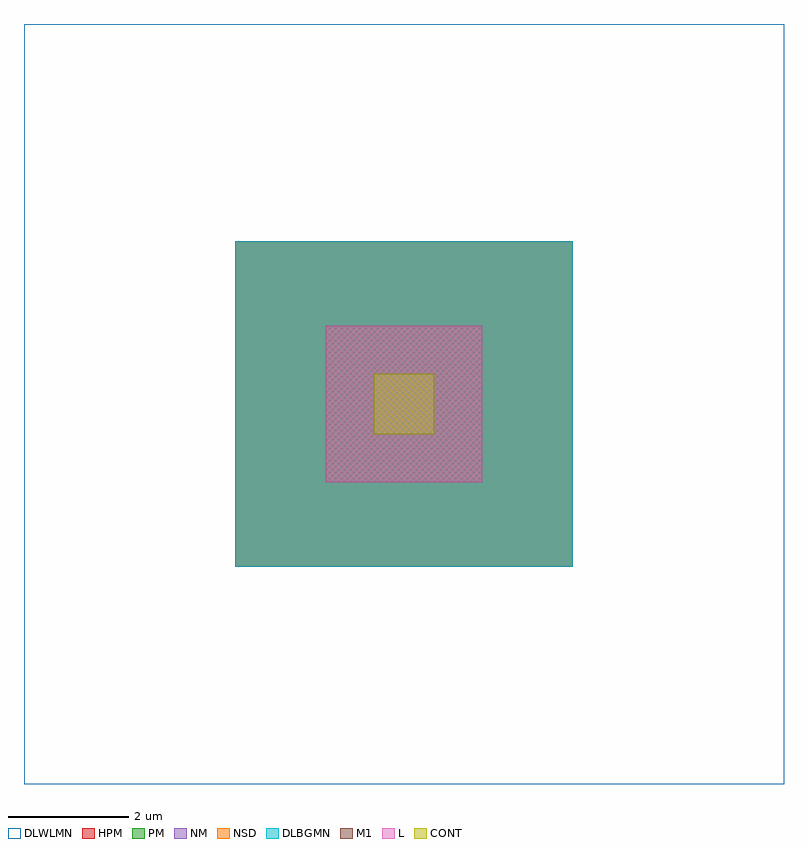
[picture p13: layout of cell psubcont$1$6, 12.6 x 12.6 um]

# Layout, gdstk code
import gdstk
lib = gdstk.Library(unit=1e-6, precision=1e-09)
def R(c, l, rs):  # rectangles x0, y0, x1, y1
    for r in rs: c.add(gdstk.rectangle(r[:2], r[2:], *l))
L = (3, 0)
NM = (7, 0)
CONT = (11, 0)
M1 = (13, 0)
NSD = (28, 0)
HPM = (33, 0)
PM = (35, 0)
DLWLMN = (151, 0)
DLBGMN = (178, 0)

dcont_1_6 = lib.new_cell('DCONT$1$6')
R(dcont_1_6, L, [(-1.3,-1.3,1.3,1.3)])
R(dcont_1_6, CONT, [(-0.5,-0.5,0.5,0.5)])
R(dcont_1_6, M1, [(-1.3,-1.3,1.3,1.3), (-0.5,-0.5,0.5,0.5)])

psubcont_1_6 = lib.new_cell('psubcont$1$6')
R(psubcont_1_6, NM, [(-2.8,-2.7,2.8,2.7)])
R(psubcont_1_6, NSD, [(-2.8,-2.7,2.8,2.7)])
R(psubcont_1_6, HPM, [(-2.8,-2.7,2.8,2.7)])
R(psubcont_1_6, PM, [(-2.8,-2.7,2.8,2.7)])
R(psubcont_1_6, DLWLMN, [(-6.3,-6.3,6.3,6.3)])
R(psubcont_1_6, DLBGMN, [(-2.8,-2.7,2.8,2.7)])
psubcont_1_6.add(gdstk.Reference(dcont_1_6, (0,0)))

lib.write_gds('psubcont_1_6.gds')
